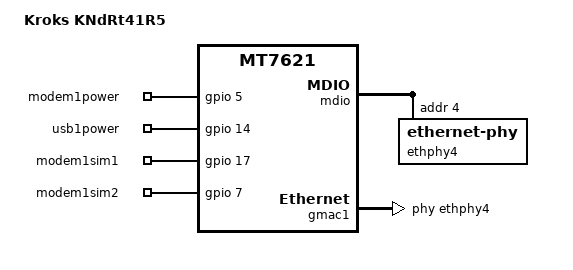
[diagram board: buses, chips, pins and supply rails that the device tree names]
#include "mt7621_kroks_wifi_mt7915.dtsi"

/ {
	compatible = "kroks,kndrt41r5", "mediatek,mt7621-soc";
	model = "Kroks KNdRt41R5";

	gpio_export {
		compatible = "gpio-export";
		#size-cells = <0>;

		modem1power {
			gpio-export,name = "modem1power";
			gpio-export,output = <1>;
			gpios = <&gpio 5 GPIO_ACTIVE_HIGH>;
		};

		usb1power {
			gpio-export,name = "usb1power";
			gpio-export,output = <1>;
			gpios = <&gpio 14 GPIO_ACTIVE_HIGH>;
		};

		modem1sim1 {
			gpio-export,name = "modem1sim1";
			gpio-export,output = <1>;
			gpios = <&gpio 17 GPIO_ACTIVE_HIGH>;
		};

		modem1sim2 {
			gpio-export,name = "modem1sim2";
			gpio-export,output = <0>;
			gpios = <&gpio 7 GPIO_ACTIVE_HIGH>;
		};
	};
};

&mdio {
	ethphy4: ethernet-phy@4 {
		reg = <4>;
	};
};

&gmac1 {
	status = "okay";
	label = "wan";
	phy-handle = <&ethphy4>;
};

&switch0 {
	ports {
		port@1 {
			status = "okay";
			label = "lan3";
		};

		port@2 {
			status = "okay";
			label = "lan2";
		};

		port@3 {
			status = "okay";
			label = "lan1";
		};
	};
};

&pcie2 {
	status = "disabled";
};

&pcie2_phy {
	status = "disabled";
};
